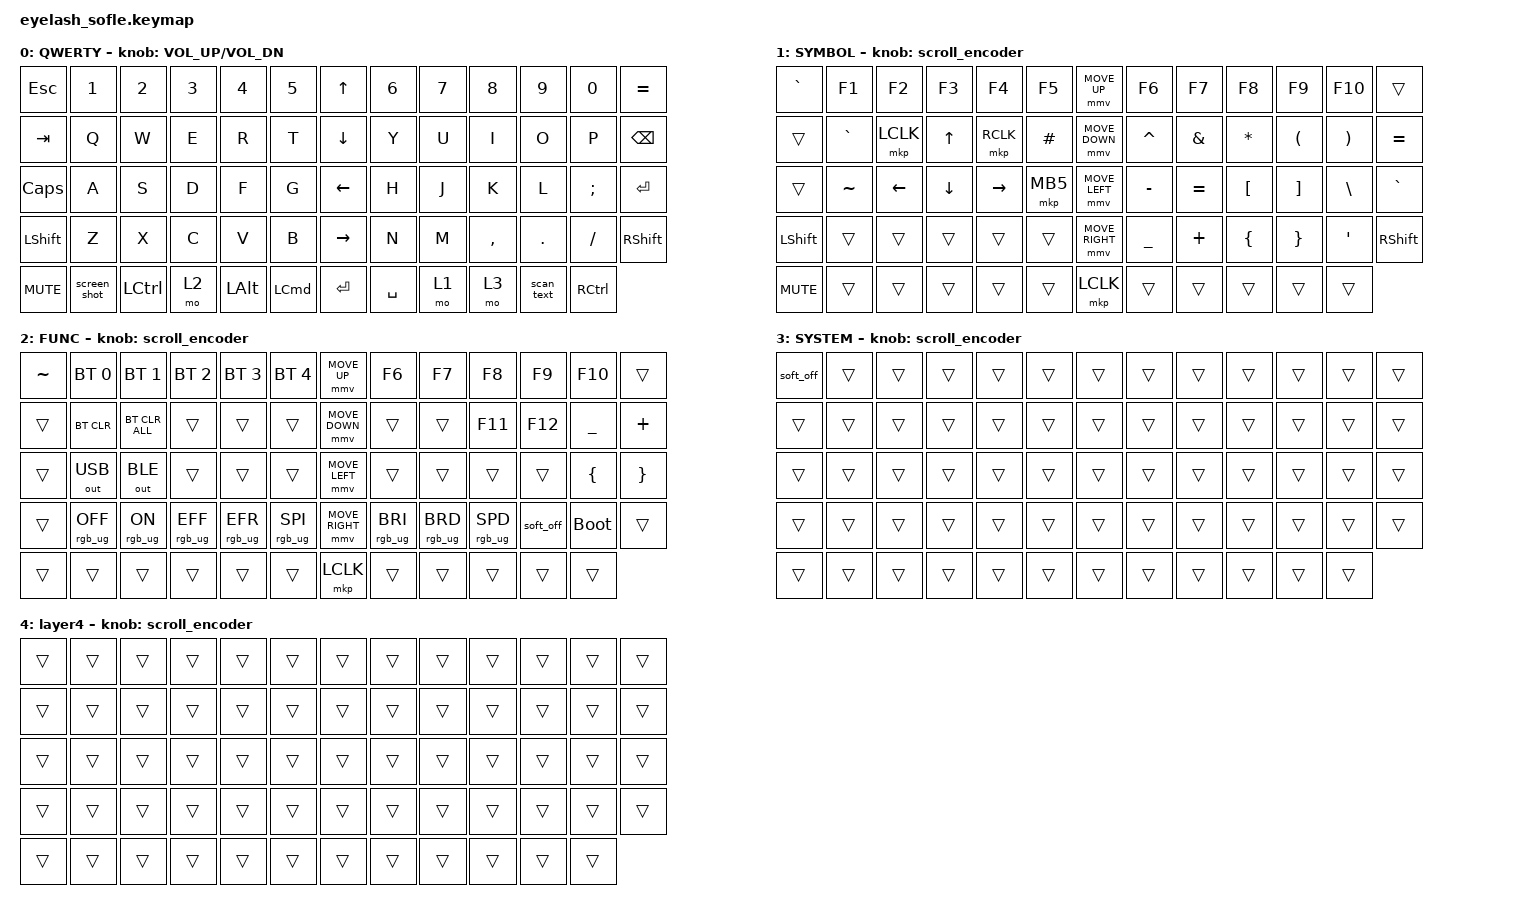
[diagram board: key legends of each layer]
#define ZMK_POINTING_DEFAULT_MOVE_VAL 1200  // 600
#define ZMK_POINTING_DEFAULT_SCRL_VAL 25   // 10

#include <input/processors.dtsi>
#include <zephyr/dt-bindings/input/input-event-codes.h>
#include <behaviors.dtsi>
#include <dt-bindings/zmk/bt.h>
#include <dt-bindings/zmk/keys.h>
#include <dt-bindings/zmk/outputs.h>
#include <dt-bindings/zmk/pointing.h>
#include <dt-bindings/zmk/rgb.h>

&mmv_input_listener { input-processors = <&zip_xy_scaler 2 1>; };

&msc_input_listener { input-processors = <&zip_scroll_scaler 2 1>; };

&msc {
    acceleration-exponent = <1>;      // 0
    time-to-max-speed-ms = <100>;       // 300
    delay-ms = <0>;                   // 0
};

&mmv {
    time-to-max-speed-ms = <500>;
    acceleration-exponent = <1>;
    trigger-period-ms = <16>;
};

&soft_off { hold-time-ms = <2000>; };

/ {
    scroll_encoder: scroll_encoder {
        compatible = "zmk,behavior-sensor-rotate";
        #sensor-binding-cells = <0>;
        bindings = <&msc SCRL_DOWN>, <&msc SCRL_UP>;

        tap-ms = <100>;
    };

    behaviors {
    };

    combos {
        compatible = "zmk,combos";

        softoff {
            bindings = <&soft_off>;
            key-positions = <14 28 40>;
        };
    };

    macros {
        scan_text: scan_text {
            compatible = "zmk,behavior-macro";
            #binding-cells = <0>;
            bindings =
                <&macro_press>,
                <&kp LEFT_ALT>,
                <&macro_tap>,
                <&kp LS(A)>,
                <&macro_release>,
                <&kp LEFT_ALT>;

            label = "SCAN_TEXT";
        };

        screen_shot: screen_shot {
            compatible = "zmk,behavior-macro";
            #binding-cells = <0>;
            bindings =
                <&macro_press>,
                <&kp LEFT_ALT>,
                <&macro_tap>,
                <&kp LS(S)>,
                <&macro_release>,
                <&kp LEFT_ALT>;

            label = "SCREEN_SHOT";
        };
    };

    keymap {
        compatible = "zmk,keymap";

        QWERTY {
            bindings = <
&kp ESC     &kp N1        &kp N2            &kp N3  &kp N4        &kp N5              &kp UP_ARROW     &kp N6     &kp N7  &kp N8     &kp N9      &kp N0             &kp EQUAL
&kp TAB     &kp Q         &kp W             &kp E   &kp R         &kp T               &kp DOWN_ARROW   &kp Y      &kp U   &kp I      &kp O       &kp P              &kp BACKSPACE
&kp CAPS    &kp A         &kp S             &kp D   &kp F         &kp G               &kp LEFT_ARROW   &kp H      &kp J   &kp K      &kp L       &kp SEMI           &kp ENTER
&kp LSHFT   &kp Z         &kp X             &kp C   &kp V         &kp B               &kp RIGHT_ARROW  &kp N      &kp M   &kp COMMA  &kp DOT     &kp FSLH           &kp RIGHT_SHIFT
&kp C_MUTE  &screen_shot  &kp LEFT_CONTROL  &mo 2   &kp LEFT_ALT  &kp LEFT_COMMAND    &kp ENTER        &kp SPACE  &mo 1   &mo 3      &scan_text  &kp RIGHT_CONTROL
            >;

            sensor-bindings = <&inc_dec_kp C_VOLUME_UP C_VOL_DN>;
            display-name = "QWERTY";
        };

        SYMBOL {
            bindings = <
&kp GRAVE       &kp F1     &kp F2          &kp F3          &kp F4           &kp F5      &mmv MOVE_UP     &kp F6          &kp F7         &kp F8            &kp F9                &kp F10                &trans
&trans          &kp GRAVE  &mkp LCLK       &kp UP_ARROW    &mkp RCLK        &kp HASH    &mmv MOVE_DOWN   &kp CARET       &kp AMPERSAND  &kp ASTERISK      &kp LEFT_PARENTHESIS  &kp RIGHT_PARENTHESIS  &kp EQUAL
&trans          &kp TILDE  &kp LEFT_ARROW  &kp DOWN_ARROW  &kp RIGHT_ARROW  &mkp MB5    &mmv MOVE_LEFT   &kp MINUS       &kp EQUAL      &kp LEFT_BRACKET  &kp RIGHT_BRACKET     &kp BACKSLASH          &kp GRAVE
&kp LEFT_SHIFT  &trans     &trans          &trans          &trans           &trans      &mmv MOVE_RIGHT  &kp UNDERSCORE  &kp PLUS       &kp LEFT_BRACE    &kp RIGHT_BRACE       &kp SQT                &kp RIGHT_SHIFT
&kp C_MUTE      &trans     &trans          &trans          &trans           &trans      &mkp LCLK        &trans          &trans         &trans            &trans                &trans
            >;

            display-name = "SYMBOL";
            sensor-bindings = <&scroll_encoder>;
        };

        layer_2 {
            bindings = <
&kp TILDE  &bt BT_SEL 0     &bt BT_SEL 1    &bt BT_SEL 2     &bt BT_SEL 3     &bt BT_SEL 4       &mmv MOVE_UP     &kp F6           &kp F7           &kp F8           &kp F9     &kp F10      &trans
&trans     &bt BT_CLR       &bt BT_CLR_ALL  &trans           &trans           &trans             &mmv MOVE_DOWN   &trans           &trans           &kp F11          &kp F12    &kp UNDER    &kp PLUS
&trans     &out OUT_USB     &out OUT_BLE    &trans           &trans           &trans             &mmv MOVE_LEFT   &trans           &trans           &trans           &trans     &kp LBRC     &kp RBRC
&trans     &rgb_ug RGB_OFF  &rgb_ug RGB_ON  &rgb_ug RGB_EFF  &rgb_ug RGB_EFR  &rgb_ug RGB_SPI    &mmv MOVE_RIGHT  &rgb_ug RGB_BRI  &rgb_ug RGB_BRD  &rgb_ug RGB_SPD  &soft_off  &bootloader  &trans
&trans     &trans           &trans          &trans           &trans           &trans             &mkp LCLK        &trans           &trans           &trans           &trans     &trans
            >;

            display-name = "FUNC";
            sensor-bindings = <&scroll_encoder>;
        };

        layer_3 {
            bindings = <
&soft_off  &trans  &trans  &trans  &trans  &trans    &trans  &trans  &trans  &trans  &trans  &trans  &trans
&trans     &trans  &trans  &trans  &trans  &trans    &trans  &trans  &trans  &trans  &trans  &trans  &trans
&trans     &trans  &trans  &trans  &trans  &trans    &trans  &trans  &trans  &trans  &trans  &trans  &trans
&trans     &trans  &trans  &trans  &trans  &trans    &trans  &trans  &trans  &trans  &trans  &trans  &trans
&trans     &trans  &trans  &trans  &trans  &trans    &trans  &trans  &trans  &trans  &trans  &trans
            >;

            display-name = "SYSTEM";
            sensor-bindings = <&scroll_encoder>;
        };

        layer_4 {
            bindings = <
&trans  &trans  &trans  &trans  &trans  &trans    &trans  &trans  &trans  &trans  &trans  &trans  &trans
&trans  &trans  &trans  &trans  &trans  &trans    &trans  &trans  &trans  &trans  &trans  &trans  &trans
&trans  &trans  &trans  &trans  &trans  &trans    &trans  &trans  &trans  &trans  &trans  &trans  &trans
&trans  &trans  &trans  &trans  &trans  &trans    &trans  &trans  &trans  &trans  &trans  &trans  &trans
&trans  &trans  &trans  &trans  &trans  &trans    &trans  &trans  &trans  &trans  &trans  &trans
            >;

            display-name = "layer4";
            sensor-bindings = <&scroll_encoder>;
        };
    };
};
